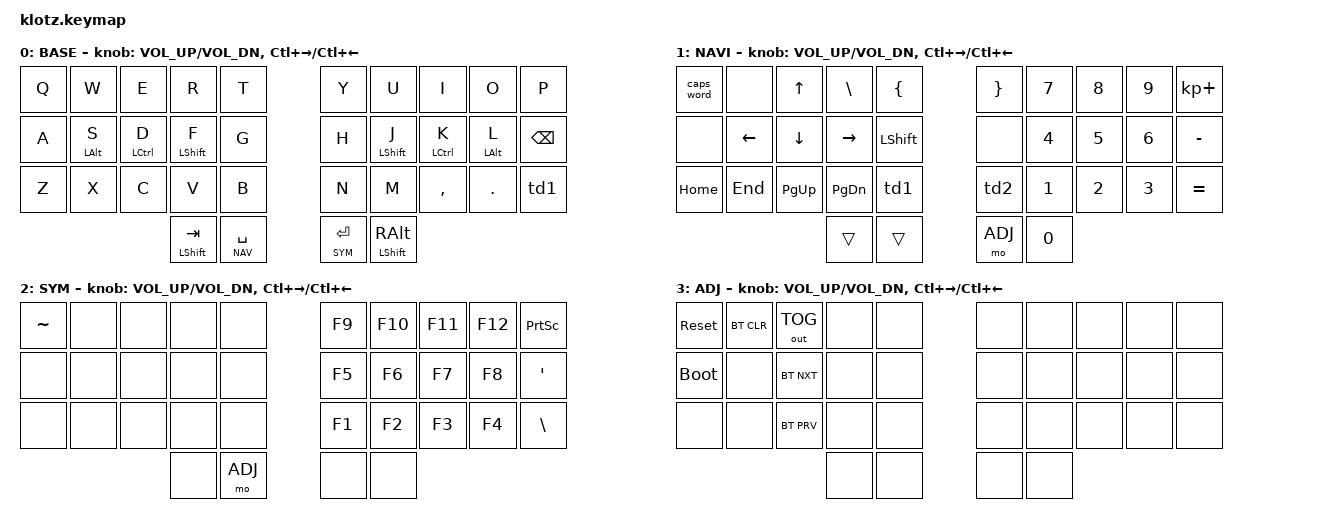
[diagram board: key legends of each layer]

//                                      █         ██        ▄▀▀▀▀▀▀▀▀▀▀█▀▀▀▀▀▀▀▀█▀▀▀▀▀▀▀▀▀▀█
//                                      █        █ █      ▄▀            ▀▄      █         █
//                                      █       █  █    ▄▀                ▀▄    █        █
//                                      █      █   █   █                    █   █       █
//                                      █     █    █   █                    █   █      █
//                                      █    █     █   █                    █   █  ▀▀▀█▀▀▀▀
//                                      █   █ █    █   █                    █   █    █
//                                      █  █   █   █   █                    █   █   █
//                                      █ █     █  █    ▀▄                ▄▀    █  █
//                                      ██       █ █      ▀▄            ▄▀      █ █
//                                      █         ██▄▄▄▄▄▄▄▄█▄▄▄▄▄▄▄▄▄▄▀        ██▄▄▄▄▄▄▄▄▄▄
//
// ▄▄▄▄▄▄▄▄▄▄▄▄▄▄▄▄▄▄▄▄▄▄▄▄▄▄▄▄▄▄▄▄▄▄▄▄▄▄▄▄▄▄▄▄▄▄▄▄▄▄▄▄▄▄▄▄▄▄▄▄▄▄▄▄▄▄▄▄▄▄▄▄▄▄▄▄▄▄▄▄▄▄▄▄▄▄▄▄▄▄▄▄▄▄▄▄▄▄▄▄▄▄▄▄▄▄▄▄▄▄▄▄▄▄▄▄▄▄▄▄▄▄▄▄▄
       

#include <behaviors.dtsi>
#include <dt-bindings/zmk/keys.h>
#include <dt-bindings/zmk/bt.h>
#include <dt-bindings/zmk/outputs.h>
#include <dt-bindings/zmk/ext_power.h>
#include <dt-bindings/zmk/pointing.h>
#include <dt-bindings/zmk/hid_usage.h>
#include <dt-bindings/zmk/hid_usage_pages.h>
#include <dt-bindings/zmk/modifiers.h>

#define BASE 0
#define NAV  1
#define SYM  2
#define ADJ  3

#define COMBO(NAME, BINDINGS, KEYPOS) \
  combo_##NAME { \
    timeout-ms = <50>; \
    bindings = <BINDINGS>; \
    key-positions = <KEYPOS>; \
    layers = <0>; \
  };

&mt {
  tapping-term-ms = <240>;
  flavor = "balanced";
  quick-tap-ms = <150>;
};

&lt {
    tapping-term-ms = <240>;
    flavor = "balanced";
    quick-tap-ms = <150>;
};

/{
        combos {
                compatible = "zmk,combos";
                                              
	        COMBO(ctrl+c, &kp LC(C), 21 22)
                COMBO(ctrl+v, &kp LC(V), 22 23)
                COMBO(ctrl+x, &kp LC(X), 20 21)
                COMBO(win, &kp LGUI, 20 34)
                COMBO(dcq, &kp LS(Q), 00 10)
                COMBO(dcw, &kp LS(W), 01 11)
                COMBO(dce, &kp LS(E), 02 12)
                COMBO(dcr, &kp LS(R), 03 13)
                COMBO(dct, &kp LS(T), 04 14)
		COMBO(del, &kp DEL, 14 24)
		COMBO(semi, &kp SEMI, 20 30)		
    };

        behaviors {
        hm: homerow_mods {
            compatible = "zmk,behavior-hold-tap";
            label = "HOMEROW_MODS";
            #binding-cells = <2>;
            flavor = "tap-preferred";
            tapping-term-ms = <170>;
            quick-tap-ms = <100>;
            global-quick-tap;
            bindings =
                <&kp>,
                <&kp>;
        };
    };

	behaviors {
	td0: tap_dance_0 {
        compatible = "zmk,behavior-tap-dance";
        #binding-cells = <0>;
        tapping-term-ms = <300>;
        bindings = <&sys_reset>, <&bootloader>;
        };	
        td1: tap_dance_1 {
        compatible = "zmk,behavior-tap-dance";
        #binding-cells = <0>;
        tapping-term-ms = <200>;
        bindings = <&kp FSLH>, <&kp QMARK>;
	};
	td2: tap_dance_2 {
        compatible = "zmk,behavior-tap-dance";
        #binding-cells = <0>;
        tapping-term-ms = <200>;
        bindings = <&kp LPAR>, <&kp LBKT>, <&kp LBRC>;
	};
	td3: tap_dance_3 {
        compatible = "zmk,behavior-tap-dance";
        #binding-cells = <0>;
        tapping-term-ms = <200>;
        bindings = <&kp RPAR>, <&kp RBKT>, <&kp RBRC>;    
    }; 
};

    macros {
       
    };

        keymap {
                compatible = "zmk,keymap";
// ▄▄▄▄▄▄▄▄▄▄▄▄▄▄▄▄▄▄▄▄▄▄▄▄▄▄▄▄▄▄▄▄▄▄▄▄▄▄▄▄▄▄▄▄▄▄▄▄▄▄▄▄▄▄▄▄▄▄▄▄▄▄▄▄▄▄▄▄▄▄▄▄▄▄▄▄▄▄▄▄▄▄▄▄▄▄▄▄▄▄▄▄▄▄▄▄▄▄▄▄▄▄▄▄▄▄▄▄▄▄▄▄▄▄▄▄▄▄▄▄▄▄▄▄▄


                base_layer {
// ┏━━━━━━━━━━━━━━━━━━━━━━━━━━━━━━━━━━━━━━━┓
label= "BASE"                              ;
// ┗━━━━━━━━━━━━━━━━━━━━━━━━━━━━━━━━━━━━━━━┛
// ┏━━━━━━━━━━━┳━━━━━━━━━━━┳━━━━━━━━━━━┳━━━━━━━━━━━┳━━━━━━━━━━━┓   ┏━━━━━━━━━━━┳━━━━━━━━━━━┳━━━━━━━━━━━┳━━━━━━━━━━━┳━━━━━━━━━━━┓
// ┃     Q     ┃     W     ┃     F     ┃     P     ┃     G     ┃   ┃     J     ┃     L     ┃     U     ┃     Y     ┃     ;     ┃
// ┣━━━━━━━━━━━╋━━━━━━━━━━━╋━━━━━━━━━━━╋━━━━━━━━━━━╋━━━━━━━━━━━┫   ┣━━━━━━━━━━━╋━━━━━━━━━━━╋━━━━━━━━━━━╋━━━━━━━━━━━╋━━━━━━━━━━━┫
// ┃     A     ┃     R     ┃     S     ┃     T     ┃     D     ┃   ┃     H     ┃     N     ┃     E     ┃     I     ┃     O     ┃
// ┣━━━━━━━━━━━╋━━━━━━━━━━━╋━━━━━━━━━━━╋━━━━━━━━━━━╋━━━━━━━━━━━┫   ┣━━━━━━━━━━━╋━━━━━━━━━━━╋━━━━━━━━━━━╋━━━━━━━━━━━╋━━━━━━━━━━━┫
// ┃     Z     ┃     X     ┃     C     ┃     V     ┃     B     ┃   ┃     K     ┃     M     ┃     ,     ┃     .     ┃     /     ┃
// ┗━━━━━━━━━━━┻━━━━━━━━━━━┻━━━━━━━━━━━╋━━━━━━━━━━━╋━━━━━━━━━━━┫   ┣━━━━━━━━━━━╋━━━━━━━━━━━╋━━━━━━━━━━━┻━━━━━━━━━━━┻━━━━━━━━━━━┛
//                                     ┃    TAB    ┃    SPC    ┃   ┃   ENTER   ┃   BSPC    ┃
//                                     ┗━━━━━━━━━━━┻━━━━━━━━━━━┛   ┗━━━━━━━━━━━┻━━━━━━━━━━━┛
 bindings = <
// ╷           ╷           ╷           ╷           ╷           ╷   ╷           ╷           ╷           ╷           ╷           ╷

    &kp Q       &kp W       &kp E       &kp R       &kp T           &kp Y       &kp U         &kp I       &kp O       &kp P
    &kp A       &hm LALT S  &hm LCTRL D &hm LSHFT F &kp G           &kp H       &hm LSHFT J   &hm LCTRL K &hm LALT L  &kp BSPC
    &kp Z       &kp X       &kp C       &kp V       &kp B           &kp N       &kp M         &kp COMMA   &kp DOT     &td1
                            &mt LSHFT TAB     &lt NAV SPACE         &lt SYM RET  &mt LSHFT RALT    
                        >;
            sensor-bindings = <&inc_dec_kp C_VOL_UP C_VOL_DN &inc_dec_kp LC(RIGHT) LC(LEFT)>;
                };

// ▄▄▄▄▄▄▄▄▄▄▄▄▄▄▄▄▄▄▄▄▄▄▄▄▄▄▄▄▄▄▄▄▄▄▄▄▄▄▄▄▄▄▄▄▄▄▄▄▄▄▄▄▄▄▄▄▄▄▄▄▄▄▄▄▄▄▄▄▄▄▄▄▄▄▄▄▄▄▄▄▄▄▄▄▄▄▄▄▄▄▄▄▄▄▄▄▄▄▄▄▄▄▄▄▄▄▄▄▄▄▄▄▄▄▄▄▄▄▄▄▄▄▄▄▄


                nav_layer {
// ┏━━━━━━━━━━━━━━━━━━━━━━━━━━━━━━━━━━━━━━━┓
label= "NAVI"                              ;
// ┗━━━━━━━━━━━━━━━━━━━━━━━━━━━━━━━━━━━━━━━┛
// ┏━━━━━━━━━━━┳━━━━━━━━━━━┳━━━━━━━━━━━┳━━━━━━━━━━━┳━━━━━━━━━━━┓   ┏━━━━━━━━━━━┳━━━━━━━━━━━┳━━━━━━━━━━━┳━━━━━━━━━━━┳━━━━━━━━━━━┓
// ┃           ┃           ┃     UP    ┃           ┃     {     ┃   ┃     }     ┃     7     ┃     8     ┃     9     ┃     +     ┃
// ┣━━━━━━━━━━━╋━━━━━━━━━━━╋━━━━━━━━━━━╋━━━━━━━━━━━╋━━━━━━━━━━━┫   ┣━━━━━━━━━━━╋━━━━━━━━━━━╋━━━━━━━━━━━╋━━━━━━━━━━━╋━━━━━━━━━━━┫
// ┃   SHIFT   ┃   LEFT    ┃    DOWN   ┃   RIGHT   ┃     [     ┃   ┃     ]     ┃     4     ┃     5     ┃     6     ┃     -     ┃
// ┣━━━━━━━━━━━╋━━━━━━━━━━━╋━━━━━━━━━━━╋━━━━━━━━━━━╋━━━━━━━━━━━┫   ┣━━━━━━━━━━━╋━━━━━━━━━━━╋━━━━━━━━━━━╋━━━━━━━━━━━╋━━━━━━━━━━━┫
// ┃           ┃   P UP    ┃  C LOCK   ┃  P DOWN   ┃     (     ┃   ┃     )     ┃     1     ┃     2     ┃     3     ┃     *     ┃
// ┗━━━━━━━━━━━┻━━━━━━━━━━━┻━━━━━━━━━━━╋━━━━━━━━━━━╋━━━━━━━━━━━┫   ┣━━━━━━━━━━━╋━━━━━━━━━━━╋━━━━━━━━━━━┻━━━━━━━━━━━┻━━━━━━━━━━━┛
//                                     ┃           ┃           ┃   ┃    DEL    ┃     0     ┃  
//                                     ┗━━━━━━━━━━━┻━━━━━━━━━━━┛   ┗━━━━━━━━━━━┻━━━━━━━━━━━┛
 bindings = <
// ╷           ╷           ╷           ╷           ╷           ╷   ╷           ╷           ╷           ╷           ╷           ╷

    &caps_word  &none        &kp UP      &kp BSLH    &kp LBRC       &kp RBRC    &kp N7   &kp N8   &kp N9   &kp KP_PLUS
    &none       &kp LEFT     &kp DOWN    &kp RIGHT   &kp LSHFT      &none	   &kp N4   &kp N5   &kp N6   &kp MINUS
    &kp HOME    &kp END      &kp PG_UP   &kp PG_DN   &td1           &td2        &kp N1   &kp N2   &kp N3   &kp EQUAL 
                                         &trans      &trans         &mo ADJ     &kp N0  
                        >;
            sensor-bindings = <&inc_dec_kp C_VOL_UP C_VOL_DN &inc_dec_kp LC(RIGHT) LC(LEFT)>;
                };

// ▄▄▄▄▄▄▄▄▄▄▄▄▄▄▄▄▄▄▄▄▄▄▄▄▄▄▄▄▄▄▄▄▄▄▄▄▄▄▄▄▄▄▄▄▄▄▄▄▄▄▄▄▄▄▄▄▄▄▄▄▄▄▄▄▄▄▄▄▄▄▄▄▄▄▄▄▄▄▄▄▄▄▄▄▄▄▄▄▄▄▄▄▄▄▄▄▄▄▄▄▄▄▄▄▄▄▄▄▄▄▄▄▄▄▄▄▄▄▄▄▄▄▄▄▄


                sim_layer {
// ┏━━━━━━━━━━━━━━━━━━━━━━━━━━━━━━━━━━━━━━━┓
label= "SYM"                               ;
// ┗━━━━━━━━━━━━━━━━━━━━━━━━━━━━━━━━━━━━━━━┛
// ┏━━━━━━━━━━━┳━━━━━━━━━━━┳━━━━━━━━━━━┳━━━━━━━━━━━┳━━━━━━━━━━━┓   ┏━━━━━━━━━━━┳━━━━━━━━━━━┳━━━━━━━━━━━┳━━━━━━━━━━━┳━━━━━━━━━━━┓
// ┃     !     ┃     @     ┃     #     ┃     $     ┃     %     ┃   ┃     ˆ     ┃     &     ┃     Ü     ┃     '     ┃     "     ┃
// ┣━━━━━━━━━━━╋━━━━━━━━━━━╋━━━━━━━━━━━╋━━━━━━━━━━━╋━━━━━━━━━━━┫   ┣━━━━━━━━━━━╋━━━━━━━━━━━╋━━━━━━━━━━━╋━━━━━━━━━━━╋━━━━━━━━━━━┫
// ┃     Ä     ┃           ┃    SZ     ┃           ┃           ┃   ┃   MUTE    ┃   YEN     ┃   EURO    ┃  POUND    ┃     Ö     ┃
// ┣━━━━━━━━━━━╋━━━━━━━━━━━╋━━━━━━━━━━━╋━━━━━━━━━━━╋━━━━━━━━━━━┫   ┣━━━━━━━━━━━╋━━━━━━━━━━━╋━━━━━━━━━━━╋━━━━━━━━━━━╋━━━━━━━━━━━┫
// ┃  EMAIL1   ┃  EMAIL2   ┃           ┃           ┃           ┃   ┃   VOL-    ┃   VOL+    ┃   LAST    ┃   NEXT    ┃     \     ┃
// ┗━━━━━━━━━━━┻━━━━━━━━━━━┻━━━━━━━━━━━╋━━━━━━━━━━━╋━━━━━━━━━━━┫   ┣━━━━━━━━━━━╋━━━━━━━━━━━╋━━━━━━━━━━━┻━━━━━━━━━━━┻━━━━━━━━━━━┛
//                                     ┃    GIF    ┃  ADJUST   ┃   ┃           ┃   PLAY    ┃   
//                                     ┗━━━━━━━━━━━┻━━━━━━━━━━━┛   ┗━━━━━━━━━━━┻━━━━━━━━━━━┛
 bindings = <
// ╷           ╷           ╷           ╷           ╷           ╷   ╷           ╷           ╷           ╷           ╷           ╷

    &kp TILDE   &none       &none       &none       &none           &kp F9      &kp F10    &kp F11     &kp F12    &kp PSCRN       
    &none       &none       &none       &none       &none           &kp F5      &kp F6     &kp F7      &kp F8     &kp APOSTROPHE 
    &none       &none       &none       &none       &none           &kp F1      &kp F2     &kp F3     &kp F4      &kp BSLH      
                                        &none       &mo ADJ         &none       &none
                        >;
                sensor-bindings = <&inc_dec_kp C_VOL_UP C_VOL_DN &inc_dec_kp LC(RIGHT) LC(LEFT)>;
                };

// ▄▄▄▄▄▄▄▄▄▄▄▄▄▄▄▄▄▄▄▄▄▄▄▄▄▄▄▄▄▄▄▄▄▄▄▄▄▄▄▄▄▄▄▄▄▄▄▄▄▄▄▄▄▄▄▄▄▄▄▄▄▄▄▄▄▄▄▄▄▄▄▄▄▄▄▄▄▄▄▄▄▄▄▄▄▄▄▄▄▄▄▄▄▄▄▄▄▄▄▄▄▄▄▄▄▄▄▄▄▄▄▄▄▄▄▄▄▄▄▄▄▄▄▄▄


                adjust_layer {
// ┏━━━━━━━━━━━━━━━━━━━━━━━━━━━━━━━━━━━━━━━┓
label= "ADJ"                               ;
// ┗━━━━━━━━━━━━━━━━━━━━━━━━━━━━━━━━━━━━━━━┛
// ┏━━━━━━━━━━━┳━━━━━━━━━━━┳━━━━━━━━━━━┳━━━━━━━━━━━┳━━━━━━━━━━━┓   ┏━━━━━━━━━━━┳━━━━━━━━━━━┳━━━━━━━━━━━┳━━━━━━━━━━━┳━━━━━━━━━━━┓
// ┃   RESET   ┃ BT CLEAR  ┃  OUT TOG  ┃           ┃           ┃   ┃           ┃    F7     ┃    F8     ┃    F9     ┃    F12    ┃
// ┣━━━━━━━━━━━╋━━━━━━━━━━━╋━━━━━━━━━━━╋━━━━━━━━━━━╋━━━━━━━━━━━┫   ┣━━━━━━━━━━━╋━━━━━━━━━━━╋━━━━━━━━━━━╋━━━━━━━━━━━╋━━━━━━━━━━━┫
// ┃ BOOTLOAD  ┃ BT NEXT   ┃           ┃           ┃           ┃   ┃           ┃    F4     ┃    F5     ┃    F6     ┃    F11    ┃
// ┣━━━━━━━━━━━╋━━━━━━━━━━━╋━━━━━━━━━━━╋━━━━━━━━━━━╋━━━━━━━━━━━┫   ┣━━━━━━━━━━━╋━━━━━━━━━━━╋━━━━━━━━━━━╋━━━━━━━━━━━╋━━━━━━━━━━━┫
// ┃           ┃ BT PREV   ┃           ┃           ┃           ┃   ┃           ┃    F1     ┃    F2     ┃    F3     ┃    F10    ┃
// ┗━━━━━━━━━━━┻━━━━━━━━━━━┻━━━━━━━━━━━╋━━━━━━━━━━━╋━━━━━━━━━━━┫   ┣━━━━━━━━━━━╋━━━━━━━━━━━╋━━━━━━━━━━━┻━━━━━━━━━━━┻━━━━━━━━━━━┛
//                                     ┃           ┃           ┃   ┃           ┃           ┃
//                                     ┗━━━━━━━━━━━┻━━━━━━━━━━━┛   ┗━━━━━━━━━━━┻━━━━━━━━━━━┛
 bindings = <
// ╷           ╷           ╷           ╷           ╷           ╷   ╷           ╷           ╷           ╷           ╷           ╷

    &sys_reset   &bt BT_CLR  &out OUT_TOG    &none       &none           &none       &none       &none       &none       &none
    &bootloader  &none       &bt BT_NXT      &none       &none           &none       &none       &none       &none       &none  
    &none        &none       &bt BT_PRV      &none       &none           &none       &none       &none       &none       &none    
                                             &none       &none           &none       &none
                        >;
            sensor-bindings = <&inc_dec_kp C_VOL_UP C_VOL_DN &inc_dec_kp LC(RIGHT) LC(LEFT)>;
                };
        };
};
